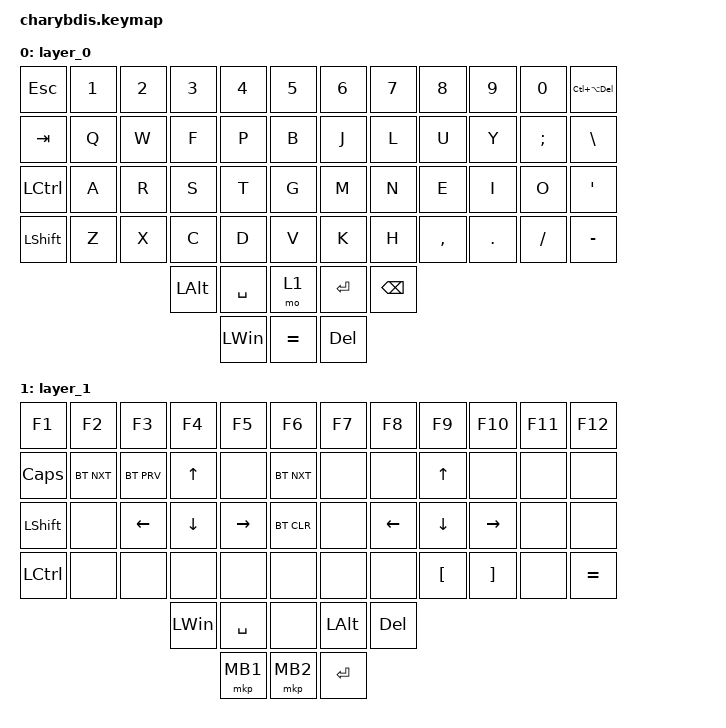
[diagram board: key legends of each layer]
#include <dt-bindings/zmk/mouse.h>
#include <behaviors.dtsi>
#include <dt-bindings/zmk/bt.h>
#include <dt-bindings/zmk/keys.h>
#include <dt-bindings/zmk/pointing.h>

&lt {
    tapping-term-ms = <200>;
    flavor = "balanced";
    quick-tap-ms = <150>;
};

/ {
    keymap {
        compatible = "zmk,keymap";

        layer_0 {
            bindings = <
&kp ESC         &kp N1  &kp N2  &kp N3        &kp N4     &kp N5       &kp N6      &kp N7         &kp N8     &kp N9      &kp N0         &kp LC(LA(DELETE))
&kp TAB         &kp Q   &kp W   &kp F         &kp P      &kp B        &kp J       &kp L          &kp U      &kp Y       &kp SEMICOLON  &kp BSLH
&kp LCTRL       &kp A   &kp R   &kp S         &kp T      &kp G        &kp M       &kp N          &kp E      &kp I       &kp O          &kp SQT
&kp LEFT_SHIFT  &kp Z   &kp X   &kp C         &kp D      &kp V        &kp K       &kp H          &kp COMMA  &kp PERIOD  &kp FSLH       &kp MINUS
                                &kp LEFT_ALT  &kp SPACE  &mo 1        &kp ENTER   &kp BACKSPACE
                                              &kp LWIN   &kp EQUAL    &kp DELETE
            >;

            trackball-bindings = <&tmv_coarse>;
        };

        layer_1 {
            bindings = <
&kp F1          &kp F2      &kp F3          &kp F4          &kp F5           &kp F6        &kp F7     &kp F8      &kp F9            &kp F10            &kp F11  &kp F12
&kp CAPS        &bt BT_NXT  &bt BT_PRV      &kp UP_ARROW    &none            &bt BT_NXT    &none      &none       &kp UP            &none              &none    &none
&kp LEFT_SHIFT  &none       &kp LEFT_ARROW  &kp DOWN_ARROW  &kp RIGHT_ARROW  &bt BT_CLR    &none      &kp LEFT    &kp DOWN          &kp RIGHT          &none    &none
&kp LCTRL       &none       &none           &none           &none            &none         &none      &none       &kp LEFT_BRACKET  &kp RIGHT_BRACKET  &none    &kp EQUAL
                                            &kp LEFT_WIN    &kp SPACE        &none         &kp LALT   &kp DELETE
                                                            &mkp MB1         &mkp MB2      &kp ENTER
            >;

            trackball-bindings = <&tsl>;
        };

        /* layer_2 {
            bindings = <
&none  &none   &none    &none   &none         &none         &kp N1         &none         &none     &none  &none   &to 0
&none  &none   &none    &none   &none         &none         &none         &none          &rgb_ug RGB_BRD &rgb_ug RGB_BRI  &rgb_ug RGB_EFF   &rgb_ug RGB_TOG
&none  &none   &none    &none   &none         &none         &none         &mkp LCLK     &mkp RCLK  &none  &none   &none
&none  &none   &none    &none   &bt BT_NXT  &bt BT_CLR    &none         &none         &none     &none  &none   &none
                                   &none         &none         &none         &none         &none
                                                 &none         &none         &none
            >;
          trackball-bindings = <&tsl>;
            
        };

       Mouse {
            bindings = <
&none        &none         &none         &none         &none      &none         &none       &none      &none         &none         &none         &none
&none        &bt BT_SEL 0  &bt BT_SEL 1  &bt BT_SEL 3  &none      &bt BT_CLR    &bt BT_CLR  &none      &bt BT_SEL 2  &bt BT_SEL 1  &bt BT_SEL 0  &none
&none        &trans        &trans        &mkp MCLK     &trans     &none         &none       &trans     &mkp MCLK     &trans        &trans        &none
&bootloader  &trans        &mkp RCLK     &mo 4         &mkp LCLK  &mo 5         &mo 5       &mkp LCLK  &mo 4         &mkp RCLK     &trans        &bootloader
                                         &mo 5         &mkp LCLK  &mkp RCLK     &mkp RCLK   &mkp LCLK
                                                       &none      &trans        &trans
            >;

            
        };

        layer_4 {
            bindings = <
&trans  &trans  &trans     &trans     &trans     &trans       &trans     &trans     &trans     &trans     &trans  &trans
&trans  &trans  &trans     &trans     &trans     &trans       &trans     &trans     &trans     &trans     &trans  &trans
&trans  &trans  &trans     &mkp MCLK  &trans     &trans       &trans     &trans     &mkp MCLK  &trans     &trans  &trans
&trans  &trans  &mkp RCLK  &trans     &mkp LCLK  &trans       &trans     &mkp LCLK  &trans     &mkp RCLK  &trans  &trans
                           &trans     &mkp LCLK  &mkp RCLK    &mkp RCLK  &mkp LCLK
                                      &trans     &trans       &trans
            >;
                
                
                trackball-bindings = <&tsl>;
        };

        layer_5 {
            bindings = <
&trans  &trans  &trans     &trans     &trans     &trans       &trans     &trans     &trans     &trans     &trans  &trans
&trans  &trans  &trans     &trans     &trans     &trans       &trans     &trans     &trans     &trans     &trans  &trans
&trans  &trans  &trans     &mkp MCLK  &trans     &trans       &trans     &trans     &mkp MCLK  &trans     &trans  &trans
&trans  &trans  &mkp RCLK  &trans     &mkp LCLK  &trans       &trans     &mkp LCLK  &trans     &mkp RCLK  &trans  &trans
                           &trans     &mkp LCLK  &mkp RCLK    &mkp RCLK  &mkp LCLK
                                      &trans     &trans       &trans
            >;
                trackball-bindings = <&tmv_fine>;
                
        };*/
    };
};
